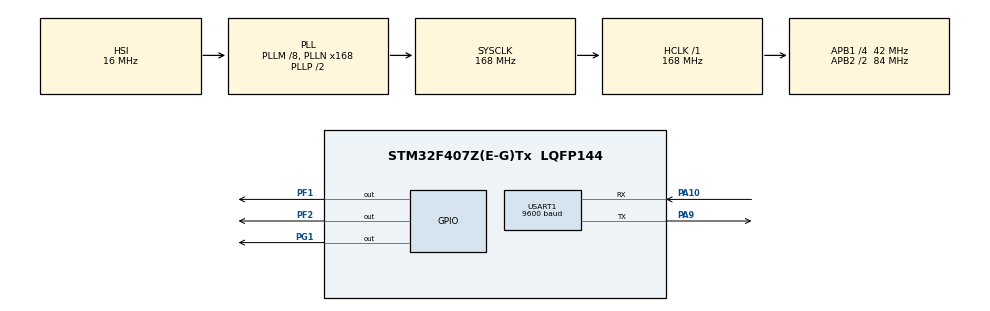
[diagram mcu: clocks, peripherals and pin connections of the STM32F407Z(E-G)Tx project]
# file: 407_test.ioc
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Mcu.Family=STM32F4
Mcu.Name=STM32F407Z(E-G)Tx
Mcu.Package=LQFP144
NVIC.PriorityGroup=NVIC_PRIORITYGROUP_4
NVIC.TIM2_IRQn=true\:0\:0\:false\:false\:true\:true\:true\:true
NVIC.USART1_IRQn=true\:0\:0\:false\:false\:true\:true\:true\:true
PA10.Mode=Asynchronous
PA10.Signal=USART1_RX
PA13.Mode=Serial_Wire
PA13.Signal=SYS_JTMS-SWDIO
PA14.Mode=Serial_Wire
PA14.Signal=SYS_JTCK-SWCLK
PA9.Mode=Asynchronous
PA9.Signal=USART1_TX
PF1.GPIO_ModeDefaultOutputPP=GPIO_MODE_OUTPUT_PP
PF1.Signal=GPIO_Output
PF2.GPIO_ModeDefaultOutputPP=GPIO_MODE_OUTPUT_PP
PF2.Signal=GPIO_Output
PG1.GPIO_ModeDefaultOutputPP=GPIO_MODE_OUTPUT_PP
PG1.Signal=GPIO_Output
PH0-OSC_IN.Mode=HSE-External-Clock-Source
PH0-OSC_IN.Signal=RCC_OSC_IN
PH1-OSC_OUT.Mode=HSE-External-Clock-Source
PH1-OSC_OUT.Signal=RCC_OSC_OUT
ProjectManager.HeapSize=0x200
ProjectManager.StackSize=0x400
ProjectManager.TargetToolchain=MDK-ARM V5.32
RCC.48MHZClocksFreq_Value=84000000
RCC.AHBFreq_Value=168000000
RCC.APB1CLKDivider=RCC_HCLK_DIV4
RCC.APB1Freq_Value=42000000
RCC.APB1TimFreq_Value=84000000
RCC.APB2CLKDivider=RCC_HCLK_DIV2
RCC.APB2Freq_Value=84000000
RCC.APB2TimFreq_Value=168000000
RCC.CortexFreq_Value=168000000
RCC.HCLKFreq_Value=168000000
RCC.HSE_VALUE=25000000
RCC.HSI_VALUE=16000000
RCC.LSE_VALUE=32768
RCC.PLLM=8
RCC.PLLN=168
RCC.SYSCLKFreq_VALUE=168000000
RCC.SYSCLKSource=RCC_SYSCLKSOURCE_PLLCLK
RCC.VCOOutputFreq_Value=336000000
TIM2.Period=100-1
TIM2.Prescaler=168-1
USART1.BaudRate=9600
USART1.VirtualMode=VM_ASYNC
VP_TIM2_VS_ClockSourceINT.Mode=Internal
board=custom

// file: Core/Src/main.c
/* USER CODE BEGIN Header */
/**
  ******************************************************************************
  * @file           : main.c
  * @brief          : Main program body
  ******************************************************************************
  * @attention
  *
  * Copyright (c) 2024 STMicroelectronics.
  * All rights reserved.
  *
  * This software is licensed under terms that can be found in the LICENSE file
  * in the root directory of this software component.
  * If no LICENSE file comes with this software, it is provided AS-IS.
  *
  ******************************************************************************
  */
/* USER CODE END Header */
#include "main.h"
#include "tim.h"
#include "usart.h"
#include "gpio.h"
#include "string.h"

void SystemClock_Config(void);
/* USER CODE BEGIN PFP */

float distance = 0;
/* USER CODE END PFP */

/* USER CODE BEGIN 0 */
uint32_t time_count = 0;

//自定义延时
void set_my_delay(uint16_t triggering_time ){
//默认为100us
		uint16_t delta_time = 0;
		uint32_t last_time = time_count;
		while(delta_time<triggering_time){
			delta_time = time_count - last_time;
		}
		time_count = 0; //重置计数值

}

void SendInitCommands() {
    for(int i=0; i<LaserProcessor::CMD_GROUP_SIZE; i++) {
        int retry = 0;
        do {
            // 发送命令
            const auto& cmd = laser.InitCommands()[i];
            HAL_UART_Transmit(&huart1, cmd.data, cmd.length, 100);

            // 重置状态
            laser.cmd_tracker_[i].sent_time = HAL_GetTick();
            laser.cmd_tracker_[i].status = LaserProcessor::CMD_PENDING;

            // 等待响应（200ms超时）
            while((HAL_GetTick() - laser.cmd_tracker_[i].sent_time) < 200) {
                if(laser.GetCmdStatus(i) != LaserProcessor::CMD_PENDING) break;
                HAL_Delay(10);
            }

            // 处理超时
            if(laser.GetCmdStatus(i) == LaserProcessor::CMD_PENDING) {
                laser.cmd_tracker_[i].status = LaserProcessor::CMD_TIMEOUT;
            }

        } while(retry++ < 3 &&
              (laser.GetCmdStatus(i) == LaserProcessor::CMD_TIMEOUT ||
               laser.GetCmdStatus(i) == LaserProcessor::CMD_CHECKSUM_ERR));

        HAL_Delay(50); // 保持协议要求的时间间隔
    }
}

/* USER CODE END 0 */

int main(void)
{

  /* MCU Configuration--------------------------------------------------------*/

  /* Reset of all peripherals, Initializes the Flash interface and the Systick. */
  HAL_Init();

  /* Configure the system clock */
  SystemClock_Config();

  /* Initialize all configured peripherals */
  MX_GPIO_Init();
  MX_TIM2_Init();
  MX_USART1_UART_Init();
  /* USER CODE BEGIN 2 */
//	HAL_GPIO_WritePin(GPIOG,GPIO_PIN_1,GPIO_PIN_RESET);
//	set_my_delay(1500); //延时(分度值1ms)
//	HAL_GPIO_WritePin(GPIOG,GPIO_PIN_1,GPIO_PIN_SET);
//	set_my_delay(2000);
//	for(int i = 0; i < 30 ; i++){
//		HAL_GPIO_WritePin(GPIOF,GPIO_PIN_2,GPIO_PIN_SET);
//		set_my_delay(10);
//		HAL_GPIO_WritePin(GPIOF,GPIO_PIN_2,GPIO_PIN_RESET);
//		set_my_delay(25);
//	}
//	HAL_GPIO_WritePin(GPIOF,GPIO_PIN_2,GPIO_PIN_SET);
	SendInitCommands();
  /* USER CODE END 2 */

  /* Infinite loop */
  while (1)
  {

  }
}

void SystemClock_Config(void)
{
  RCC_OscInitTypeDef RCC_OscInitStruct = {0};
  RCC_ClkInitTypeDef RCC_ClkInitStruct = {0};

  /** Configure the main internal regulator output voltage
  */
  __HAL_RCC_PWR_CLK_ENABLE();
  __HAL_PWR_VOLTAGESCALING_CONFIG(PWR_REGULATOR_VOLTAGE_SCALE1);

  /** Initializes the RCC Oscillators according to the specified parameters
  * in the RCC_OscInitTypeDef structure.
  */
  RCC_OscInitStruct.OscillatorType = RCC_OSCILLATORTYPE_HSI;
  RCC_OscInitStruct.HSIState = RCC_HSI_ON;
  RCC_OscInitStruct.HSICalibrationValue = RCC_HSICALIBRATION_DEFAULT;
  RCC_OscInitStruct.PLL.PLLState = RCC_PLL_ON;
  RCC_OscInitStruct.PLL.PLLSource = RCC_PLLSOURCE_HSI;
  RCC_OscInitStruct.PLL.PLLM = 8;
  RCC_OscInitStruct.PLL.PLLN = 168;
  RCC_OscInitStruct.PLL.PLLP = RCC_PLLP_DIV2;
  RCC_OscInitStruct.PLL.PLLQ = 4;
  if (HAL_RCC_OscConfig(&RCC_OscInitStruct) != HAL_OK)
  {
    Error_Handler();
  }

  /** Initializes the CPU, AHB and APB buses clocks
  */
  RCC_ClkInitStruct.ClockType = RCC_CLOCKTYPE_HCLK|RCC_CLOCKTYPE_SYSCLK
                              |RCC_CLOCKTYPE_PCLK1|RCC_CLOCKTYPE_PCLK2;
  RCC_ClkInitStruct.SYSCLKSource = RCC_SYSCLKSOURCE_PLLCLK;
  RCC_ClkInitStruct.AHBCLKDivider = RCC_SYSCLK_DIV1;
  RCC_ClkInitStruct.APB1CLKDivider = RCC_HCLK_DIV4;
  RCC_ClkInitStruct.APB2CLKDivider = RCC_HCLK_DIV2;

  if (HAL_RCC_ClockConfig(&RCC_ClkInitStruct, FLASH_LATENCY_5) != HAL_OK)
  {
    Error_Handler();
  }
}

void Error_Handler(void)
{
  __disable_irq();
  while (1)
  {
  }
}
